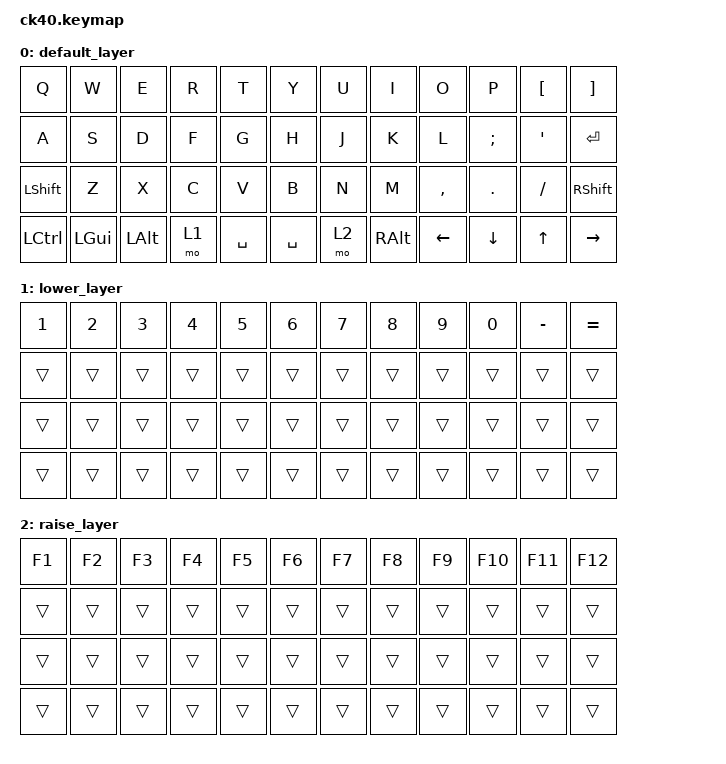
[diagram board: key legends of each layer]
#include <behaviors.dtsi>
#include <dt-bindings/zmk/keys.h>
#include <dt-bindings/zmk/bt.h>

/ {
    keymap {
        compatible = "zmk,keymap";

        default_layer {
            bindings = <
    &kp Q  &kp W  &kp E  &kp R  &kp T    &kp Y  &kp U  &kp I     &kp O    &kp P    &kp LBKT  &kp RBKT
    &kp A  &kp S  &kp D  &kp F  &kp G    &kp H  &kp J  &kp K     &kp L    &kp SEMI &kp SQT   &kp RET
    &kp LSHFT &kp Z &kp X &kp C &kp V   &kp B  &kp N  &kp M     &kp COMMA &kp DOT &kp FSLH  &kp RSHFT
    &kp LCTRL &kp LGUI &kp LALT &mo 1 &kp SPACE &kp SPACE &mo 2 &kp RALT &kp LEFT &kp DOWN &kp UP &kp RIGHT
            >;
        };

        lower_layer {
            bindings = <
    &kp N1  &kp N2  &kp N3  &kp N4  &kp N5   &kp N6  &kp N7  &kp N8  &kp N9  &kp N0  &kp MINUS &kp EQUAL
    &trans  &trans  &trans  &trans  &trans   &trans  &trans  &trans  &trans  &trans  &trans    &trans
    &trans  &trans  &trans  &trans  &trans   &trans  &trans  &trans  &trans  &trans  &trans    &trans
    &trans  &trans  &trans  &trans  &trans   &trans  &trans  &trans  &trans  &trans  &trans    &trans
            >;
        };

        raise_layer {
            bindings = <
    &kp F1  &kp F2  &kp F3  &kp F4  &kp F5   &kp F6  &kp F7  &kp F8  &kp F9  &kp F10 &kp F11  &kp F12
    &trans  &trans  &trans  &trans  &trans   &trans  &trans  &trans  &trans  &trans  &trans   &trans
    &trans  &trans  &trans  &trans  &trans   &trans  &trans  &trans  &trans  &trans  &trans   &trans
    &trans  &trans  &trans  &trans  &trans   &trans  &trans  &trans  &trans  &trans  &trans   &trans
            >;
        };
    };
};
